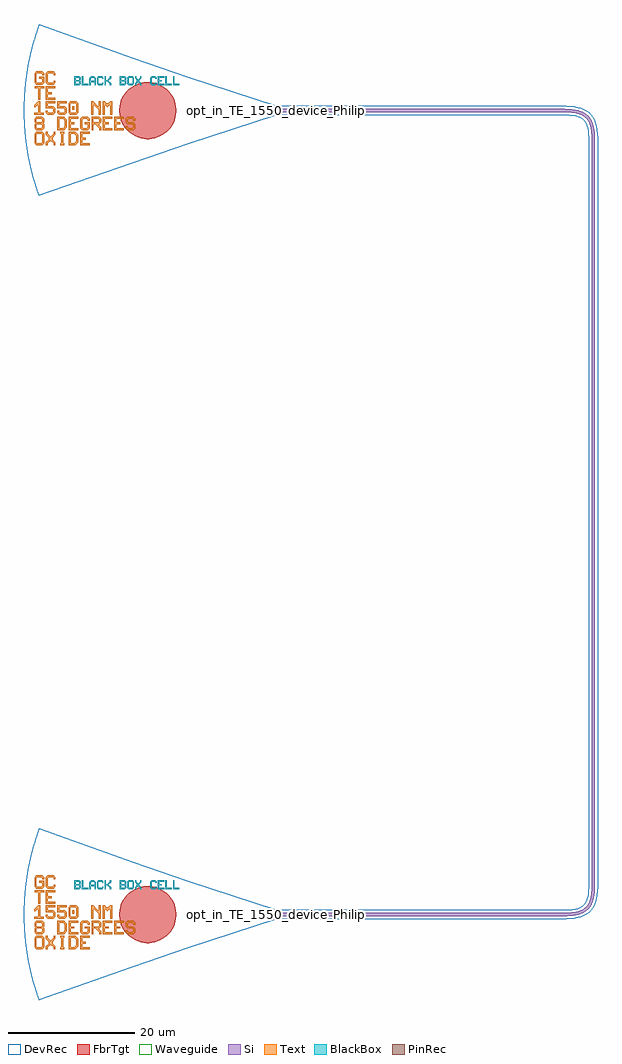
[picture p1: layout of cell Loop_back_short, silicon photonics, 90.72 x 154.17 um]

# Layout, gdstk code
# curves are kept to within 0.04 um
import gdstk
lib = gdstk.Library(unit=1e-6, precision=1e-09)
def R(c, l, rs):  # rectangles x0, y0, x1, y1
    for r in rs: c.add(gdstk.rectangle(r[:2], r[2:], *l))
def P(c, l, *ps):  # polygons
    for p in ps: c.add(gdstk.Polygon(p, *l))
Si = (1, 0)
PinRec = (1, 10)
Waveguide = (1, 99)
Text = (10, 0)
DevRec = (68, 0)
FbrTgt = (81, 0)
BlackBox = (998, 0)

text = lib.new_cell('TEXT')
P(text, BlackBox, [(0,0),(0,1.4),(0.8,1.4),(1,1.2),(0.2,1.2),(0.2,0.8),(0.7,0.8),(0.8,0.9),(0.8,1.1),(0.7,1.2),(1,1.2),(1,0.8),(0.9,0.7),(1,0.6),(0.2,0.6),(0.2,0.2),(0.7,0.2),(0.8,0.3),(0.8,0.5),(0.7,0.6),(1,0.6),(1,0.2),(0.8,0)],
  [(1.2,0),(1.2,1.4),(1.4,1.4),(1.4,0.2),(2.2,0.2),(2.2,0)],
  [(2.4,0),(2.4,1.1),(2.7,1.4),(3.1,1.4),(3.3,1.2),(2.8,1.2),(2.6,1),(2.6,0.7),(3.2,0.7),(3.2,1),(3,1.2),(3.3,1.2),(3.4,1.1),(3.4,0),(3.2,0),(3.2,0.5),(2.6,0.5),(2.6,0)],
  [(3.8,0),(3.6,0.2),(3.6,1.2),(3.8,1.4),(4.4,1.4),(4.6,1.2),(4.6,1),(4.4,1),(4.4,1.1),(4.3,1.2),(3.9,1.2),(3.8,1.1),(3.8,0.3),(3.9,0.2),(4.3,0.2),(4.4,0.3),(4.4,0.4),(4.6,0.4),(4.6,0.2),(4.4,0)],
  [(4.8,0),(4.8,1.4),(5,1.4),(5,0.8),(5.2,0.8),(5.6,1.2),(5.6,1.4),(5.8,1.4),(5.8,1.1),(5.4,0.7),(5.8,0.3),(5.8,0),(5.6,0),(5.6,0.2),(5.2,0.6),(5,0.6),(5,0)],
  [(7.2,0),(7.2,1.4),(8,1.4),(8.2,1.2),(7.4,1.2),(7.4,0.8),(7.9,0.8),(8,0.9),(8,1.1),(7.9,1.2),(8.2,1.2),(8.2,0.8),(8.1,0.7),(8.2,0.6),(7.4,0.6),(7.4,0.2),(7.9,0.2),(8,0.3),(8,0.5),(7.9,0.6),(8.2,0.6),(8.2,0.2),(8,0)],
  [(8.6,0),(8.4,0.2),(8.4,1.2),(8.6,1.4),(9.2,1.4),(9.4,1.2),(9.4,0.7),(9.2,0.7),(9.2,1.1),(9.1,1.2),(8.7,1.2),(8.6,1.1),(8.6,0.3),(8.7,0.2),(9.1,0.2),(9.2,0.3),(9.2,0.7),(9.4,0.7),(9.4,0.2),(9.2,0)],
  [(9.6,0),(9.6,0.3),(9.9,0.6),(9.9,0.8),(9.6,1.1),(9.6,1.4),(9.8,1.4),(9.8,1.2),(10.1,0.9),(10.4,1.2),(10.4,1.4),(10.6,1.4),(10.6,1.1),(10.3,0.8),(10.3,0.6),(10.6,0.3),(10.6,0),(10.4,0),(10.4,0.2),(10.1,0.5),(9.8,0.2),(9.8,0)],
  [(12.2,0),(12,0.2),(12,1.2),(12.2,1.4),(12.8,1.4),(13,1.2),(13,1),(12.8,1),(12.8,1.1),(12.7,1.2),(12.3,1.2),(12.2,1.1),(12.2,0.3),(12.3,0.2),(12.7,0.2),(12.8,0.3),(12.8,0.4),(13,0.4),(13,0.2),(12.8,0)],
  [(13.2,0),(13.2,1.4),(14.2,1.4),(14.2,1.2),(13.4,1.2),(13.4,0.8),(13.8,0.8),(13.8,0.6),(13.4,0.6),(13.4,0.2),(14.2,0.2),(14.2,0)],
  [(14.4,0),(14.4,1.4),(14.6,1.4),(14.6,0.2),(15.4,0.2),(15.4,0)],
  [(15.6,0),(15.6,1.4),(15.8,1.4),(15.8,0.2),(16.6,0.2),(16.6,0)])

gc_te_1550_8degoxide_bb = lib.new_cell('GC_TE_1550_8degOxide_BB')
R(gc_te_1550_8degoxide_bb, Waveguide, [(-0.4,-0.25,0,0.25)])
R(gc_te_1550_8degoxide_bb, Text, [(-32.313,0.092,-32.013,0.692)])
P(gc_te_1550_8degoxide_bb, Text, [(-37.67,1.71),(-37.67,3.51),(-38.27,3.51),(-38.27,3.81),(-36.77,3.81),(-36.77,3.51),(-37.37,3.51),(-37.37,1.71)],
  [(-37.97,-5.49),(-38.27,-5.19),(-38.27,-3.69),(-37.97,-3.39),(-37.07,-3.39),(-36.77,-3.69),(-36.77,-4.44),(-37.07,-4.44),(-37.07,-3.84),(-37.22,-3.69),(-37.82,-3.69),(-37.97,-3.84),(-37.97,-5.04),(-37.82,-5.19),(-37.22,-5.19),(-37.07,-5.04),(-37.07,-4.44),(-36.77,-4.44),(-36.77,-5.19),(-37.07,-5.49)],
  [(-31.07,-5.49),(-31.07,-3.39),(-29.57,-3.39),(-29.57,-3.69),(-30.77,-3.69),(-30.77,-4.29),(-30.17,-4.29),(-30.17,-4.59),(-30.77,-4.59),(-30.77,-5.19),(-29.57,-5.19),(-29.57,-5.49)],
  [(-32.87,-3.09),(-32.87,-0.99),(-31.37,-0.99),(-31.37,-1.29),(-32.57,-1.29),(-32.57,-1.89),(-31.97,-1.89),(-31.97,-2.19),(-32.57,-2.19),(-32.57,-2.79),(-31.37,-2.79),(-31.37,-3.09)],
  [(-27.47,-3.09),(-27.47,-0.99),(-25.97,-0.99),(-25.97,-1.29),(-27.17,-1.29),(-27.17,-1.89),(-26.57,-1.89),(-26.57,-2.19),(-27.17,-2.19),(-27.17,-2.79),(-25.97,-2.79),(-25.97,-3.09)],
  [(-25.67,-3.09),(-25.67,-0.99),(-24.17,-0.99),(-24.17,-1.29),(-25.37,-1.29),(-25.37,-1.89),(-24.77,-1.89),(-24.77,-2.19),(-25.37,-2.19),(-25.37,-2.79),(-24.17,-2.79),(-24.17,-3.09)],
  [(-36.47,1.71),(-36.47,3.81),(-34.97,3.81),(-34.97,3.51),(-36.17,3.51),(-36.17,2.91),(-35.57,2.91),(-35.57,2.61),(-36.17,2.61),(-36.17,2.01),(-34.97,2.01),(-34.97,1.71)],
  [(-29.313,-0.658),(-29.313,1.442),(-29.013,1.442),(-28.263,0.692),(-28.113,0.692),(-28.113,1.442),(-27.813,1.442),(-27.813,-0.658),(-28.113,-0.658),(-28.113,0.092),(-28.863,0.842),(-29.013,0.842),(-29.013,-0.658)],
  [(-34.22,-5.49),(-34.22,-5.19),(-34.07,-5.19),(-34.07,-3.69),(-34.22,-3.69),(-34.22,-3.39),(-33.62,-3.39),(-33.62,-3.69),(-33.77,-3.69),(-33.77,-5.19),(-33.62,-5.19),(-33.62,-5.49)],
  [(-36.17,4.11),(-36.47,4.41),(-36.47,5.91),(-36.17,6.21),(-35.27,6.21),(-34.97,5.91),(-34.97,5.61),(-35.27,5.61),(-35.27,5.76),(-35.42,5.91),(-36.02,5.91),(-36.17,5.76),(-36.17,4.56),(-36.02,4.41),(-35.42,4.41),(-35.27,4.56),(-35.27,4.71),(-34.97,4.71),(-34.97,4.41),(-35.27,4.11)],
  [(-27.513,-0.658),(-27.513,1.442),(-27.213,1.442),(-26.913,1.142),(-26.613,1.142),(-26.313,1.442),(-26.013,1.442),(-26.013,-0.658),(-26.313,-0.658),(-26.313,0.842),(-26.463,0.842),(-26.763,0.542),(-27.063,0.842),(-27.213,0.842),(-27.213,-0.658)],
  [(-32.613,-0.658),(-32.913,-0.358),(-32.913,1.142),(-32.613,1.442),(-31.713,1.442),(-31.413,1.142),(-32.463,1.142),(-32.613,0.992),(-32.613,-0.208),(-32.463,-0.358),(-31.863,-0.358),(-31.713,-0.208),(-31.713,0.992),(-31.863,1.142),(-31.413,1.142),(-31.413,-0.358),(-31.713,-0.658)],
  [(-32.87,-5.49),(-32.87,-3.39),(-31.82,-3.39),(-31.52,-3.69),(-32.57,-3.69),(-32.57,-5.19),(-31.97,-5.19),(-31.67,-4.89),(-31.67,-3.99),(-31.97,-3.69),(-31.52,-3.69),(-31.37,-3.84),(-31.37,-5.04),(-31.82,-5.49)],
  [(-34.67,-3.09),(-34.67,-0.99),(-33.62,-0.99),(-33.32,-1.29),(-34.37,-1.29),(-34.37,-2.79),(-33.77,-2.79),(-33.47,-2.49),(-33.47,-1.59),(-33.77,-1.29),(-33.32,-1.29),(-33.17,-1.44),(-33.17,-2.64),(-33.62,-3.09)],
  [(-23.57,-3.09),(-23.87,-2.79),(-23.87,-2.49),(-23.57,-2.49),(-23.57,-2.64),(-23.42,-2.79),(-22.82,-2.79),(-22.67,-2.64),(-22.67,-2.34),(-22.82,-2.19),(-23.57,-2.19),(-23.87,-1.89),(-23.87,-1.29),(-23.57,-0.99),(-22.67,-0.99),(-22.37,-1.29),(-22.37,-1.59),(-22.67,-1.59),(-22.67,-1.44),(-22.82,-1.29),(-23.42,-1.29),(-23.57,-1.44),(-23.57,-1.74),(-23.42,-1.89),(-22.67,-1.89),(-22.37,-2.19),(-22.37,-2.79),(-22.67,-3.09)],
  [(-36.213,-0.658),(-36.513,-0.358),(-36.513,-0.058),(-36.213,-0.058),(-36.213,-0.208),(-36.063,-0.358),(-35.463,-0.358),(-35.313,-0.208),(-35.313,0.242),(-35.463,0.392),(-36.513,0.392),(-36.513,1.442),(-35.013,1.442),(-35.013,1.142),(-36.213,1.142),(-36.213,0.692),(-35.313,0.692),(-35.013,0.392),(-35.013,-0.358),(-35.313,-0.658)],
  [(-34.413,-0.658),(-34.713,-0.358),(-34.713,-0.058),(-34.413,-0.058),(-34.413,-0.208),(-34.263,-0.358),(-33.663,-0.358),(-33.513,-0.208),(-33.513,0.242),(-33.663,0.392),(-34.713,0.392),(-34.713,1.442),(-33.213,1.442),(-33.213,1.142),(-34.413,1.142),(-34.413,0.692),(-33.513,0.692),(-33.213,0.392),(-33.213,-0.358),(-33.513,-0.658)],
  [(-37.97,-3.09),(-38.27,-2.79),(-38.27,-2.19),(-38.12,-2.04),(-38.27,-1.89),(-38.27,-1.29),(-37.97,-0.99),(-37.07,-0.99),(-36.77,-1.29),(-37.82,-1.29),(-37.97,-1.44),(-37.97,-1.74),(-37.82,-1.89),(-37.22,-1.89),(-37.07,-1.74),(-37.07,-1.44),(-37.22,-1.29),(-36.77,-1.29),(-36.77,-1.89),(-36.92,-2.04),(-36.77,-2.19),(-37.82,-2.19),(-37.97,-2.34),(-37.97,-2.64),(-37.82,-2.79),(-37.22,-2.79),(-37.07,-2.64),(-37.07,-2.34),(-37.22,-2.19),(-36.77,-2.19),(-36.77,-2.79),(-37.07,-3.09)],
  [(-38.313,-0.658),(-38.313,-0.358),(-37.713,-0.358),(-37.713,0.842),(-37.863,0.842),(-38.163,0.542),(-38.313,0.542),(-38.313,0.842),(-37.713,1.442),(-37.413,1.442),(-37.413,-0.358),(-36.813,-0.358),(-36.813,-0.658)],
  [(-36.47,-5.49),(-36.47,-5.04),(-36.02,-4.59),(-36.02,-4.29),(-36.47,-3.84),(-36.47,-3.39),(-36.17,-3.39),(-36.17,-3.69),(-35.72,-4.14),(-35.27,-3.69),(-35.27,-3.39),(-34.97,-3.39),(-34.97,-3.84),(-35.42,-4.29),(-35.42,-4.59),(-34.97,-5.04),(-34.97,-5.49),(-35.27,-5.49),(-35.27,-5.19),(-35.72,-4.74),(-36.17,-5.19),(-36.17,-5.49)],
  [(-30.77,-3.09),(-31.07,-2.79),(-31.07,-1.29),(-30.77,-0.99),(-29.87,-0.99),(-29.57,-1.29),(-29.57,-1.59),(-29.87,-1.59),(-29.87,-1.44),(-30.02,-1.29),(-30.62,-1.29),(-30.77,-1.44),(-30.77,-2.64),(-30.62,-2.79),(-30.02,-2.79),(-29.87,-2.64),(-29.87,-2.19),(-30.32,-2.19),(-30.32,-1.89),(-29.57,-1.89),(-29.57,-2.79),(-29.87,-3.09)],
  [(-37.97,4.11),(-38.27,4.41),(-38.27,5.91),(-37.97,6.21),(-37.07,6.21),(-36.77,5.91),(-36.77,5.61),(-37.07,5.61),(-37.07,5.76),(-37.22,5.91),(-37.82,5.91),(-37.97,5.76),(-37.97,4.56),(-37.82,4.41),(-37.22,4.41),(-37.07,4.56),(-37.07,5.01),(-37.52,5.01),(-37.52,5.31),(-36.77,5.31),(-36.77,4.41),(-37.07,4.11)],
  [(-29.27,-3.09),(-29.27,-0.99),(-28.07,-0.99),(-27.77,-1.29),(-28.97,-1.29),(-28.97,-1.89),(-28.22,-1.89),(-28.07,-1.74),(-28.07,-1.44),(-28.22,-1.29),(-27.77,-1.29),(-27.77,-1.89),(-28.07,-2.19),(-28.07,-2.34),(-27.77,-2.64),(-27.77,-3.09),(-28.07,-3.09),(-28.07,-2.79),(-28.67,-2.19),(-28.97,-2.19),(-28.97,-3.09)])
P(gc_te_1550_8degoxide_bb, DevRec, [(-37.607,-13.5),(-38.627,-10.245),(-39.378,-6.832),(-39.647,-5.058),(-39.835,-3.274),(-39.969,0.224),(-39.812,3.541),(-39.331,7.097),(-38.557,10.505),(-37.546,13.669),(-22.8,8.353),(-14.109,5.36),(0,0.75),(0,-0.75),(-14.109,-5.36)])
P(gc_te_1550_8degoxide_bb, FbrTgt, [(-20.621,-4.5),(-21.495,-4.37),(-22.326,-4.073),(-23.084,-3.619),(-23.738,-3.026),(-24.264,-2.316),(-24.642,-1.518),(-24.857,-0.661),(-24.9,0.221),(-24.77,1.095),(-24.473,1.926),(-24.019,2.684),(-23.426,3.338),(-22.716,3.864),(-21.918,4.242),(-21.061,4.457),(-20.179,4.5),(-19.305,4.37),(-18.474,4.073),(-17.716,3.619),(-17.062,3.026),(-16.536,2.316),(-16.158,1.518),(-15.943,0.661),(-15.9,-0.221),(-16.03,-1.095),(-16.327,-1.926),(-16.781,-2.684),(-17.374,-3.338),(-18.084,-3.864),(-18.882,-4.242),(-19.739,-4.457)])
gc_te_1550_8degoxide_bb.add(gdstk.FlexPath([(-0.01,0),(0.01,0)], 0.5, ends="flush", simple_path=True, layer=1, datatype=10))  # PinRec
gc_te_1550_8degoxide_bb.add(gdstk.Reference(text, (-32,4)))
gc_te_1550_8degoxide_bb.add(gdstk.Label('opt1', (0,0), layer=1, texttype=10))
gc_te_1550_8degoxide_bb.add(gdstk.Label('Lumerical_INTERCONNECT_library=Design kits/ebeam', (-29,-7), layer=68, texttype=0))
gc_te_1550_8degoxide_bb.add(gdstk.Label('Component=GC_TE_1550_8degOxide_BB', (-28,-5), layer=68, texttype=0))

waveguide = lib.new_cell('Waveguide')
P(waveguide, Si, [(0,-0.25),(0,0.25),(45.83,0.268),(47.342,0.446),(48.304,0.791),(48.668,1.035),(48.966,1.333),(49.406,2.136),(49.66,3.272),(49.75,5),(49.75,122),(49.659,123.729),(49.554,124.342),(49.36,124.982),(48.896,125.747),(48.493,126.094),(48.093,126.314),(47.044,126.613),(45.631,126.741),(0,126.75),(0,127.25),(45.221,127.249),(46.963,127.132),(48.167,126.825),(48.771,126.51),(49.177,126.177),(49.509,125.772),(49.769,125.298),(50.005,124.604),(50.131,123.964),(50.248,122.223),(50.25,5),(50.156,3.21),(50.006,2.397),(49.825,1.833),(49.581,1.34),(49.267,0.918),(48.881,0.568),(48.423,0.29),(47.293,-0.074),(45.852,-0.232)])
P(waveguide, Waveguide, [(0,-0.25),(0,0.25),(45.83,0.268),(47.342,0.446),(48.304,0.791),(48.668,1.035),(48.966,1.333),(49.406,2.136),(49.66,3.272),(49.75,5),(49.75,122),(49.659,123.729),(49.554,124.342),(49.36,124.982),(48.896,125.747),(48.493,126.094),(48.093,126.314),(47.044,126.613),(45.631,126.741),(0,126.75),(0,127.25),(45.221,127.249),(46.963,127.132),(48.167,126.825),(48.771,126.51),(49.177,126.177),(49.509,125.772),(49.769,125.298),(50.005,124.604),(50.131,123.964),(50.248,122.223),(50.25,5),(50.156,3.21),(50.006,2.397),(49.825,1.833),(49.581,1.34),(49.267,0.918),(48.881,0.568),(48.423,0.29),(47.293,-0.074),(45.852,-0.232)])
P(waveguide, DevRec, [(0,-0.75),(0,0.75),(45,0.75),(46.745,0.848),(47.896,1.146),(48.376,1.443),(48.715,1.842),(48.975,2.425),(49.153,3.256),(49.25,5),(49.25,122),(49.152,123.745),(48.854,124.896),(48.557,125.376),(48.375,125.558),(47.895,125.855),(46.744,126.153),(45.649,126.24),(0,126.25),(0,127.75),(45,127.75),(46.952,127.639),(48.027,127.405),(48.95,126.989),(49.349,126.698),(49.988,125.951),(50.222,125.51),(50.54,124.51),(50.739,122.702),(50.75,5),(50.639,3.048),(50.405,1.973),(49.989,1.05),(49.698,0.651),(48.951,0.012),(48.51,-0.222),(47.51,-0.54),(45.702,-0.739)])
waveguide.add(gdstk.FlexPath([(0.01,127),(-0.01,127)], 0.5, ends="flush", simple_path=True, layer=1, datatype=10))  # PinRec
waveguide.add(gdstk.FlexPath([(0.01,0),(-0.01,0)], 0.5, ends="flush", simple_path=True, layer=1, datatype=10))  # PinRec
waveguide.add(gdstk.Label('opt1', (0,127), layer=1, texttype=10))
waveguide.add(gdstk.Label('opt2', (0,0), layer=1, texttype=10))
waveguide.add(gdstk.Label('Lumerical_INTERCONNECT_library=Design kits/EBeam', (0,126.9), layer=68, texttype=0))
waveguide.add(gdstk.Label('Component=ebeam_wg_integral_1550', (0,127.1), layer=68, texttype=0))
waveguide.add(gdstk.Label('cellName=Waveguide', (0,127.2), layer=68, texttype=0))
waveguide.add(gdstk.Label('Spice_param:wg_length=0.000223897 wg_width=5e-07 points="[[0.0,127.0],[50.0,127.0],[50.0,0.0],[0.0,0.0]]" radius=5e-06', (0,127), layer=68, texttype=0))
waveguide.add(gdstk.Label('Length=223.897 (microns)', (0,126.4), layer=68, texttype=0))
waveguide.add(gdstk.Label('waveguide_type=Strip TE 1550 nm, w=500 nm', (0,126.8), layer=68, texttype=0))

loop_back_short = lib.new_cell('Loop_back_short')
loop_back_short.add(gdstk.Reference(gc_te_1550_8degoxide_bb, (0,0)))
loop_back_short.add(gdstk.Reference(gc_te_1550_8degoxide_bb, (0,127)))
loop_back_short.add(gdstk.Reference(waveguide, (0,0)))
loop_back_short.add(gdstk.Label('opt_in_TE_1550_device_PhilippeArsenault_Loop_back_Short_top', (0,127), layer=10, texttype=0))
loop_back_short.add(gdstk.Label('opt_in_TE_1550_device_PhilippeArsenault_Loop_back_Short_bot', (0,0), layer=10, texttype=0))

lib.write_gds('Loop_back_short.gds')
